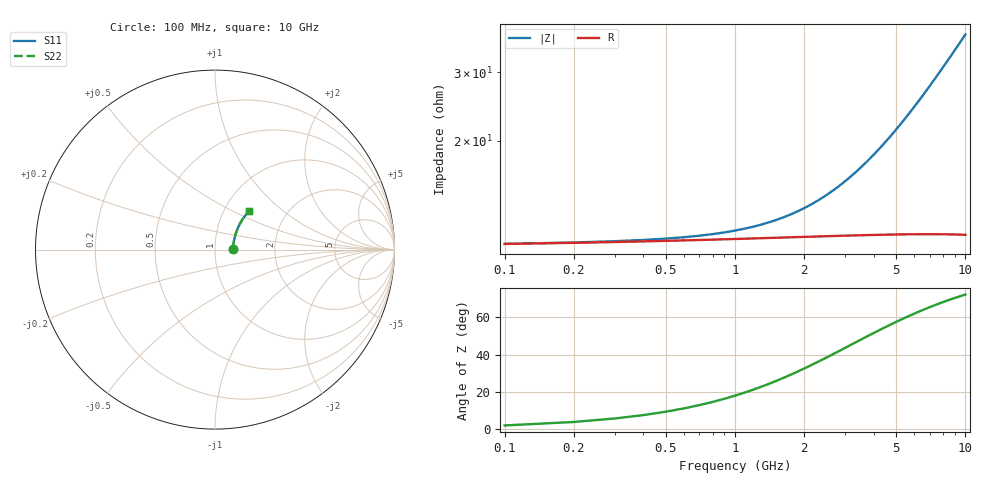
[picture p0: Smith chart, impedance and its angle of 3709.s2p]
# Hz S RI R 50.00
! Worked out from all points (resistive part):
!   100 points, 100 MHz to 10 GHz, reference 50 ohm
!   read as one part in series: R = 10.9 ohm at 100 MHz
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1e8  0.098 0.00244  0.902 -0.00343  0.902 -0.00343  0.098 0.00244
6e8  0.1001 0.0146  0.8998 -0.0205  0.8998 -0.0205  0.1001 0.0146
8e8  0.1008 0.0194  0.8991 -0.0273  0.8991 -0.0273  0.1008 0.0194
1e9  0.1015 0.0242  0.8984 -0.0341  0.8984 -0.0341  0.1015 0.0242
1.2e9  0.1022 0.029  0.8977 -0.0408  0.8977 -0.0408  0.1022 0.029
1.4e9  0.103 0.0338  0.8969 -0.0476  0.8969 -0.0476  0.103 0.0338
1.8e9  0.1046 0.0434  0.8952 -0.0611  0.8952 -0.0611  0.1046 0.0434
2.1e9  0.1059 0.0505  0.8938 -0.0711  0.8938 -0.0711  0.1059 0.0505
2.4e9  0.1074 0.0576  0.8923 -0.0812  0.8923 -0.0812  0.1074 0.0576
2.8e9  0.1096 0.067  0.89 -0.0945  0.89 -0.0945  0.1096 0.067
3.4e9  0.1133 0.0809  0.886 -0.1143  0.886 -0.1143  0.1133 0.0809
4.3e9  0.12 0.1013  0.879 -0.1436  0.879 -0.1436  0.12 0.1013
5.1e9  0.127 0.119  0.8717 -0.1691  0.8717 -0.1691  0.127 0.119
5.5e9  0.1308 0.1276  0.8676 -0.1817  0.8676 -0.1817  0.1308 0.1276
5.9e9  0.1349 0.1361  0.8633 -0.1941  0.8633 -0.1941  0.1349 0.1361
6.3e9  0.1392 0.1444  0.8587 -0.2064  0.8587 -0.2064  0.1392 0.1444
6.7e9  0.1437 0.1526  0.8539 -0.2185  0.8539 -0.2185  0.1437 0.1526
7.5e9  0.1534 0.1684  0.8437 -0.2423  0.8437 -0.2423  0.1534 0.1684
7.9e9  0.1586 0.1761  0.8382 -0.2539  0.8382 -0.2539  0.1586 0.1761
8.4e9  0.1653 0.1854  0.831 -0.2681  0.831 -0.2681  0.1653 0.1854
9.2e9  0.1767 0.1996  0.8189 -0.2903  0.8189 -0.2903  0.1767 0.1996
1e10  0.1887 0.213  0.8061 -0.3117  0.8061 -0.3117  0.1887 0.213
